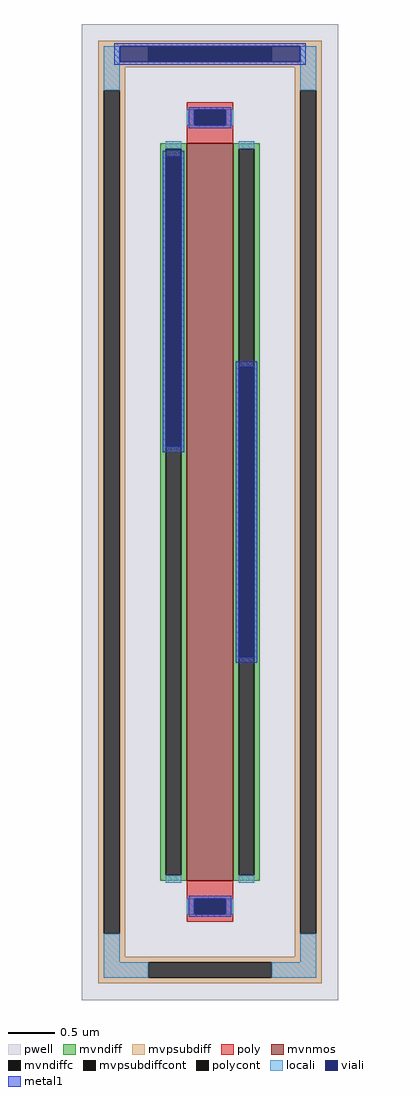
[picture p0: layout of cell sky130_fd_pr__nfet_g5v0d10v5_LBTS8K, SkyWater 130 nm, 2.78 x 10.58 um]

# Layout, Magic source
magic
tech sky130A
magscale 1 2
<< pwell >>
rect -278 -1058 278 1058
<< mvnmos >>
rect -50 -800 50 800
<< mvndiff >>
rect -108 788 -50 800
rect -108 -788 -96 788
rect -62 -788 -50 788
rect -108 -800 -50 -788
rect 50 788 108 800
rect 50 -788 62 788
rect 96 -788 108 788
rect 50 -800 108 -788
<< mvndiffc >>
rect -96 -788 -62 788
rect 62 -788 96 788
<< mvpsubdiff >>
rect -242 1010 242 1022
rect -242 976 -134 1010
rect 134 976 242 1010
rect -242 964 242 976
rect -242 914 -184 964
rect -242 -914 -230 914
rect -196 -914 -184 914
rect 184 914 242 964
rect -242 -964 -184 -914
rect 184 -914 196 914
rect 230 -914 242 914
rect 184 -964 242 -914
rect -242 -976 242 -964
rect -242 -1010 -134 -976
rect 134 -1010 242 -976
rect -242 -1022 242 -1010
<< mvpsubdiffcont >>
rect -134 976 134 1010
rect -230 -914 -196 914
rect 196 -914 230 914
rect -134 -1010 134 -976
<< poly >>
rect -50 872 50 888
rect -50 838 -34 872
rect 34 838 50 872
rect -50 800 50 838
rect -50 -838 50 -800
rect -50 -872 -34 -838
rect 34 -872 50 -838
rect -50 -888 50 -872
<< polycont >>
rect -34 838 34 872
rect -34 -872 34 -838
<< locali >>
rect -230 914 -196 1010
rect 196 914 230 1010
rect -50 838 -34 872
rect 34 838 50 872
rect -96 788 -62 804
rect -96 -804 -62 -788
rect 62 788 96 804
rect 62 -804 96 -788
rect -50 -872 -34 -838
rect 34 -872 50 -838
rect -230 -976 -196 -914
rect 196 -976 230 -914
rect -230 -1010 -134 -976
rect 134 -1010 230 -976
<< viali >>
rect -196 976 -134 1010
rect -134 976 134 1010
rect 134 976 196 1010
rect -34 838 34 872
rect -96 141 -62 771
rect 62 -315 96 315
rect -34 -872 34 -838
<< metal1 >>
rect -208 1010 208 1016
rect -208 976 -196 1010
rect 196 976 208 1010
rect -208 970 208 976
rect -46 872 46 878
rect -46 838 -34 872
rect 34 838 46 872
rect -46 832 46 838
rect -102 771 -56 783
rect -102 141 -96 771
rect -62 141 -56 771
rect -102 129 -56 141
rect 56 315 102 327
rect 56 -315 62 315
rect 96 -315 102 315
rect 56 -327 102 -315
rect -46 -838 46 -832
rect -46 -872 -34 -838
rect 34 -872 46 -838
rect -46 -878 46 -872
<< properties >>
string gencell sky130_fd_pr__nfet_g5v0d10v5
string FIXED_BBOX -213 -993 213 993
string parameters w 8 l 0.5 m 1 nf 1 diffcov 100 polycov 100 guard 1 glc 1 grc 1 gtc 1 gbc 1 tbcov 100 rlcov 100 topc 1 botc 1 poverlap 0 doverlap 1 lmin 0.50 wmin 0.42 compatible {sky130_fd_pr__nfet_01v8 sky130_fd_pr__nfet_01v8_lvt  sky130_fd_bs_flash__special_sonosfet_star  sky130_fd_pr__nfet_g5v0d10v5 sky130_fd_pr__nfet_05v0_nvt  sky130_fd_pr__nfet_03v3_nvt} full_metal 1 viasrc 40 viadrn -40 viagate 100 viagb 0 viagr 0 viagl 0 viagt 100
string library sky130
<< end >>
